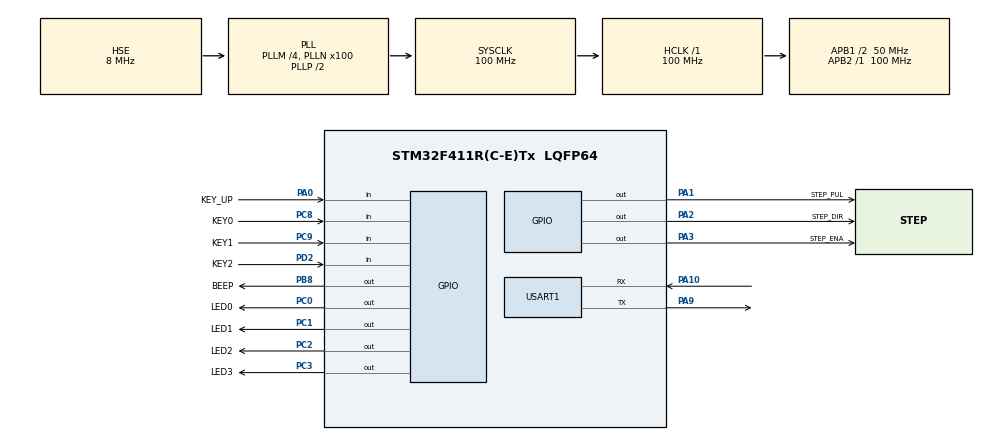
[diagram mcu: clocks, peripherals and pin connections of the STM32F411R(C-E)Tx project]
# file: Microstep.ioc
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Dma.Request0=USART1_RX
Dma.Request1=USART1_TX
Dma.USART1_RX.0.Direction=DMA_PERIPH_TO_MEMORY
Dma.USART1_RX.0.FIFOMode=DMA_FIFOMODE_DISABLE
Dma.USART1_RX.0.Instance=DMA2_Stream2
Dma.USART1_RX.0.MemDataAlignment=DMA_MDATAALIGN_BYTE
Dma.USART1_RX.0.MemInc=DMA_MINC_ENABLE
Dma.USART1_RX.0.Mode=DMA_NORMAL
Dma.USART1_RX.0.PeriphDataAlignment=DMA_PDATAALIGN_BYTE
Dma.USART1_RX.0.PeriphInc=DMA_PINC_DISABLE
Dma.USART1_RX.0.Priority=DMA_PRIORITY_LOW
Dma.USART1_TX.1.Direction=DMA_MEMORY_TO_PERIPH
Dma.USART1_TX.1.FIFOMode=DMA_FIFOMODE_DISABLE
Dma.USART1_TX.1.Instance=DMA2_Stream7
Dma.USART1_TX.1.MemDataAlignment=DMA_MDATAALIGN_BYTE
Dma.USART1_TX.1.MemInc=DMA_MINC_ENABLE
Dma.USART1_TX.1.Mode=DMA_NORMAL
Dma.USART1_TX.1.PeriphDataAlignment=DMA_PDATAALIGN_BYTE
Dma.USART1_TX.1.PeriphInc=DMA_PINC_DISABLE
Dma.USART1_TX.1.Priority=DMA_PRIORITY_LOW
Mcu.Family=STM32F4
Mcu.Name=STM32F411R(C-E)Tx
Mcu.Package=LQFP64
NVIC.DMA2_Stream2_IRQn=true\:2\:0\:true\:false\:true\:false\:true\:true
NVIC.DMA2_Stream7_IRQn=true\:3\:0\:true\:false\:true\:false\:true\:true
NVIC.PriorityGroup=NVIC_PRIORITYGROUP_4
NVIC.TIM3_IRQn=true\:1\:0\:true\:false\:true\:true\:true\:true
NVIC.USART1_IRQn=true\:4\:0\:true\:false\:true\:true\:true\:true
PA0-WKUP.GPIO_Label=KEY_UP
PA0-WKUP.GPIO_PuPd=GPIO_PULLDOWN
PA0-WKUP.Signal=GPIO_Input
PA1.GPIO_Label=STEP_PUL
PA1.Signal=GPIO_Output
PA10.Mode=Asynchronous
PA10.Signal=USART1_RX
PA13.Mode=Serial_Wire
PA13.Signal=SYS_JTMS-SWDIO
PA14.Mode=Serial_Wire
PA14.Signal=SYS_JTCK-SWCLK
PA2.GPIO_Label=STEP_DIR
PA2.Signal=GPIO_Output
PA3.GPIO_Label=STEP_ENA
PA3.PinState=GPIO_PIN_SET
PA3.Signal=GPIO_Output
PA9.Mode=Asynchronous
PA9.Signal=USART1_TX
PB8.GPIO_Label=BEEP
PB8.GPIO_Speed=GPIO_SPEED_FREQ_HIGH
PB8.PinState=GPIO_PIN_SET
PB8.Signal=GPIO_Output
PC0.GPIO_Label=LED0
PC0.GPIO_Speed=GPIO_SPEED_FREQ_HIGH
PC0.PinState=GPIO_PIN_SET
PC0.Signal=GPIO_Output
PC1.GPIO_Label=LED1
PC1.GPIO_Speed=GPIO_SPEED_FREQ_HIGH
PC1.PinState=GPIO_PIN_SET
PC1.Signal=GPIO_Output
PC2.GPIO_Label=LED2
PC2.PinState=GPIO_PIN_SET
PC2.Signal=GPIO_Output
PC3.GPIO_Label=LED3
PC3.PinState=GPIO_PIN_SET
PC3.Signal=GPIO_Output
PC8.GPIO_Label=KEY0
PC8.GPIO_PuPd=GPIO_PULLUP
PC8.Signal=GPIO_Input
PC9.GPIO_Label=KEY1
PC9.GPIO_PuPd=GPIO_PULLUP
PC9.Signal=GPIO_Input
PD2.GPIO_Label=KEY2
PD2.GPIO_PuPd=GPIO_PULLUP
PD2.Signal=GPIO_Input
PH0\ -\ OSC_IN.Mode=HSE-External-Oscillator
PH0\ -\ OSC_IN.Signal=RCC_OSC_IN
PH1\ -\ OSC_OUT.Mode=HSE-External-Oscillator
PH1\ -\ OSC_OUT.Signal=RCC_OSC_OUT
ProjectManager.HeapSize=0x200
ProjectManager.StackSize=0x400
ProjectManager.TargetToolchain=MDK-ARM V5.32
RCC.48MHZClocksFreq_Value=50000000
RCC.AHBFreq_Value=100000000
RCC.APB1CLKDivider=RCC_HCLK_DIV2
RCC.APB1Freq_Value=50000000
RCC.APB1TimFreq_Value=100000000
RCC.APB2Freq_Value=100000000
RCC.APB2TimFreq_Value=100000000
RCC.CortexFreq_Value=100000000
RCC.HCLKFreq_Value=100000000
RCC.HSE_VALUE=8000000
RCC.HSI_VALUE=16000000
RCC.LSE_VALUE=32768
RCC.PLLM=4
RCC.PLLN=100
RCC.PLLSourceVirtual=RCC_PLLSOURCE_HSE
RCC.SYSCLKFreq_VALUE=100000000
RCC.SYSCLKSource=RCC_SYSCLKSOURCE_PLLCLK
RCC.VCOOutputFreq_Value=200000000
TIM3.AutoReloadPreload=TIM_AUTORELOAD_PRELOAD_ENABLE
TIM3.Period=1499
TIM3.Prescaler=99
USART1.VirtualMode=VM_ASYNC
VP_TIM3_VS_ClockSourceINT.Mode=Internal
board=custom

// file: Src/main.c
/* USER CODE BEGIN Header */
/**
  ******************************************************************************
  * @file           : main.c
  * @brief          : Main program body
  ******************************************************************************
  * @attention
  *
  * Copyright (c) 2026 STMicroelectronics.
  * All rights reserved.
  *
  * This software is licensed under terms that can be found in the LICENSE file
  * in the root directory of this software component.
  * If no LICENSE file comes with this software, it is provided AS-IS.
  *
  ******************************************************************************
  */
/* USER CODE END Header */
#include "main.h"
#include "dma.h"
#include "tim.h"
#include "usart.h"
#include "gpio.h"

/* USER CODE BEGIN Includes */
#include <stdio.h>
#include <string.h>
/* USER CODE END Includes */

/* USER CODE BEGIN PV */
uint16_t current_arr = 1499;
uint8_t  is_running = 0; //0:STOP 1:RUN
uint8_t  current_dir = 0; //0:+ 1:-
char uart_tx_buf[100];
/* USER CODE END PV */

void SystemClock_Config(void);
/* USER CODE BEGIN PFP */
void Print_Motor_State_IT(void);
/* USER CODE END PFP */

/* USER CODE BEGIN 0 */
void HAL_TIM_PeriodElapsedCallback(TIM_HandleTypeDef *htim) {
    if (htim->Instance == TIM3) {
        if (is_running) {
            HAL_GPIO_TogglePin(STEP_PUL_GPIO_Port, STEP_PUL_Pin);
        }
    }
}
void Print_Motor_State_IT(void) {
    if (HAL_UART_GetState(&huart1) == HAL_UART_STATE_READY) {
        uint16_t current_rpm = 75000 / (current_arr + 1);

        uint16_t len = sprintf(uart_tx_buf, "State:%s | Spd:%03dRPM | Dir:%s\r\n",
                               is_running ? "RUN" : "STP",
                               is_running ? current_rpm : 0,
                               current_dir == 0 ? "FWD" : "REV");

        HAL_UART_Transmit_IT(&huart1, (uint8_t*)uart_tx_buf, len);
    }
}
/* USER CODE END 0 */

int main(void)
{

  /* MCU Configuration--------------------------------------------------------*/

  /* Reset of all peripherals, Initializes the Flash interface and the Systick. */
  HAL_Init();

  /* Configure the system clock */
  SystemClock_Config();

  /* Initialize all configured peripherals */
  MX_GPIO_Init();
  MX_DMA_Init();
  MX_USART1_UART_Init();
  MX_TIM3_Init();
  /* USER CODE BEGIN 2 */
  HAL_GPIO_WritePin(STEP_ENA_GPIO_Port, STEP_ENA_Pin, GPIO_PIN_SET);
	HAL_GPIO_WritePin(STEP_DIR_GPIO_Port, STEP_DIR_Pin, GPIO_PIN_RESET);
	HAL_TIM_Base_Start_IT(&htim3);

	char *init_msg = "System Ready. Use Keys to control.\r\n";
  HAL_UART_Transmit(&huart1, (uint8_t*)init_msg, strlen(init_msg), 100);
  /* USER CODE END 2 */

  /* Infinite loop */
  /* USER CODE BEGIN WHILE */
  while (1)
  {
		if (HAL_GPIO_ReadPin(KEY0_GPIO_Port, KEY0_Pin) == GPIO_PIN_RESET) {
          HAL_Delay(10); // ????
          if (HAL_GPIO_ReadPin(KEY0_GPIO_Port, KEY0_Pin) == GPIO_PIN_RESET) {
              if (current_arr >= 169) {
                  current_arr -= 20;
              } else {
                  current_arr = 149; // ?????
              }
              __HAL_TIM_SET_AUTORELOAD(&htim3, current_arr);
              Print_Motor_State_IT();

              HAL_Delay(100);
          }
      }
		if (HAL_GPIO_ReadPin(KEY1_GPIO_Port, KEY1_Pin) == GPIO_PIN_RESET) {
          HAL_Delay(10);
          if (HAL_GPIO_ReadPin(KEY1_GPIO_Port, KEY1_Pin) == GPIO_PIN_RESET) {
              if (current_arr <= 1479) {
                  current_arr += 20;
              } else {
                  current_arr = 1499; // ?????
              }
              __HAL_TIM_SET_AUTORELOAD(&htim3, current_arr);
              Print_Motor_State_IT();

              HAL_Delay(100); // ?????????
          }
      }
		if (HAL_GPIO_ReadPin(KEY2_GPIO_Port, KEY2_Pin) == GPIO_PIN_RESET) {
          HAL_Delay(20);
          if (HAL_GPIO_ReadPin(KEY2_GPIO_Port, KEY2_Pin) == GPIO_PIN_RESET) {
              is_running = !is_running;
              if (is_running) {
                  HAL_GPIO_WritePin(STEP_ENA_GPIO_Port, STEP_ENA_Pin, GPIO_PIN_RESET);
                  HAL_GPIO_WritePin(STEP_PUL_GPIO_Port, STEP_PUL_Pin, GPIO_PIN_RESET);
              } else {
                  HAL_GPIO_WritePin(STEP_ENA_GPIO_Port, STEP_ENA_Pin, GPIO_PIN_SET);
              }
              Print_Motor_State_IT();

              // ????????,????
              while(HAL_GPIO_ReadPin(KEY2_GPIO_Port, KEY2_Pin) == GPIO_PIN_RESET);
          }
      }
		if (HAL_GPIO_ReadPin(KEY_UP_GPIO_Port, KEY_UP_Pin) == GPIO_PIN_SET) {
          HAL_Delay(20);
          if (HAL_GPIO_ReadPin(KEY_UP_GPIO_Port, KEY_UP_Pin) == GPIO_PIN_SET) {
              current_dir = !current_dir;
              HAL_GPIO_WritePin(STEP_DIR_GPIO_Port, STEP_DIR_Pin, current_dir ? GPIO_PIN_SET : GPIO_PIN_RESET);
              Print_Motor_State_IT();

              // ?????????,????
              while(HAL_GPIO_ReadPin(KEY_UP_GPIO_Port, KEY_UP_Pin) == GPIO_PIN_SET);
          }
      }
    /* USER CODE END WHILE */

  }
}

void SystemClock_Config(void)
{
  RCC_OscInitTypeDef RCC_OscInitStruct = {0};
  RCC_ClkInitTypeDef RCC_ClkInitStruct = {0};

  /** Configure the main internal regulator output voltage
  */
  __HAL_RCC_PWR_CLK_ENABLE();
  __HAL_PWR_VOLTAGESCALING_CONFIG(PWR_REGULATOR_VOLTAGE_SCALE1);

  /** Initializes the RCC Oscillators according to the specified parameters
  * in the RCC_OscInitTypeDef structure.
  */
  RCC_OscInitStruct.OscillatorType = RCC_OSCILLATORTYPE_HSE;
  RCC_OscInitStruct.HSEState = RCC_HSE_ON;
  RCC_OscInitStruct.PLL.PLLState = RCC_PLL_ON;
  RCC_OscInitStruct.PLL.PLLSource = RCC_PLLSOURCE_HSE;
  RCC_OscInitStruct.PLL.PLLM = 4;
  RCC_OscInitStruct.PLL.PLLN = 100;
  RCC_OscInitStruct.PLL.PLLP = RCC_PLLP_DIV2;
  RCC_OscInitStruct.PLL.PLLQ = 4;
  if (HAL_RCC_OscConfig(&RCC_OscInitStruct) != HAL_OK)
  {
    Error_Handler();
  }

  /** Initializes the CPU, AHB and APB buses clocks
  */
  RCC_ClkInitStruct.ClockType = RCC_CLOCKTYPE_HCLK|RCC_CLOCKTYPE_SYSCLK
                              |RCC_CLOCKTYPE_PCLK1|RCC_CLOCKTYPE_PCLK2;
  RCC_ClkInitStruct.SYSCLKSource = RCC_SYSCLKSOURCE_PLLCLK;
  RCC_ClkInitStruct.AHBCLKDivider = RCC_SYSCLK_DIV1;
  RCC_ClkInitStruct.APB1CLKDivider = RCC_HCLK_DIV2;
  RCC_ClkInitStruct.APB2CLKDivider = RCC_HCLK_DIV1;

  if (HAL_RCC_ClockConfig(&RCC_ClkInitStruct, FLASH_LATENCY_3) != HAL_OK)
  {
    Error_Handler();
  }
}

void Error_Handler(void)
{
  __disable_irq();
  while (1)
  {
  }
}
